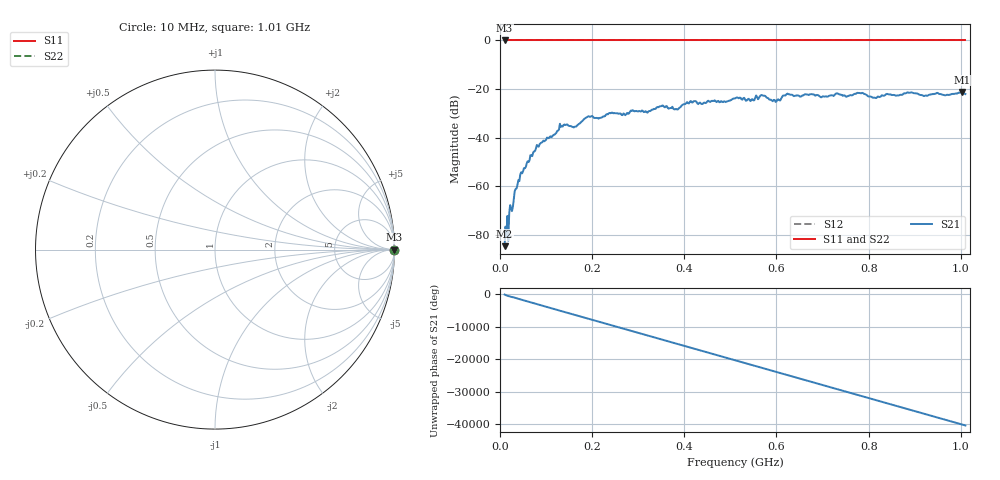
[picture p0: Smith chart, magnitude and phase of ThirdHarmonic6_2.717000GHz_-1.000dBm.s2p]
! 8/17/2025 6:36:12 AM
! C:\ANRITSUVNA\TEMP\TEMP.S2P
! CHANNEL.1
! TR.MEASUREMENT
! RAW.DATA
! RF.CORRECTION.OFF
! AVERAGING.OFF
! IF.BANDWIDTH: 5KHZ
! SWEEPTYPE:  FREQ.SWEEP(Linear)
! Reference Plane Port Info
! PORT:  PORT1  PORT2
! DISTANCE:  0  m  0  m
! TIME:  0  s  0  s
! PHASE.OFFSET:  0  deg.  0  deg.
! LOSS:  0  dB  0  dB
! REF.LOSS:  0  dB  0  dB
! REF.FREQ:  0  Hz  0  Hz
! Power Info
! POWER:  -20  dBm  -20  dBm
! EFF.POWER:  -20  dBm  -20  dBm
! SOURCE.ATTEN:  0  dB  0  dB
! TEST.ATTEN:  0  dB  0  dB
# GHZ S RI R 50.0
! FREQ.GHZ  S11RE  S11IM  S21RE  S21IM  S12RE  S12IM  S22RE  S22IM
!; PortSelection: Port_12
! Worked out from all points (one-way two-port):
!   501 points, 10 MHz to 1.01 GHz, reference 50 ohm
!   highest |S21| = -21.13 dB at 1.002 GHz (marker M1); lowest = -84.5 dB at 10 MHz (marker M2)
!   lowest |S11| = 0.0 dB at 10 MHz (marker M3)
!   |S11| at or under -10 dB: nowhere
!   |S22| runs from 0.0 to 0.0 dB; largest |S21 - S12| = 1.1
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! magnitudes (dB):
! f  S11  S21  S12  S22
! 10 MHz  0.0  -84.5  0.0  0.0
! 42 MHz  0.0  -57.8  0.0  0.0
! 76 MHz  0.0  -45.5  0.0  0.0
! 134 MHz  0.0  -35.3  0.0  0.0
! 162 MHz  0.0  -35.4  0.0  0.0
! 178 MHz  0.0  -33.2  0.0  0.0
! 194 MHz  0.0  -31.2  0.0  0.0
! 322 MHz  0.0  -29.2  0.0  0.0
! 344 MHz  0.0  -27.4  0.0  0.0
! 382 MHz  0.0  -28.1  0.0  0.0
! 416 MHz  0.0  -25.4  0.0  0.0
! 510 MHz  0.0  -23.8  0.0  0.0
! 548 MHz  0.0  -24.1  0.0  0.0
! 570 MHz  0.0  -22.6  0.0  0.0
! 596 MHz  0.0  -24.5  0.0  0.0
! 624 MHz  0.0  -21.8  0.0  0.0
! 678 MHz  0.0  -22.1  0.0  0.0
! 784 MHz  0.0  -21.7  0.0  0.0
! 814 MHz  0.0  -23.6  0.0  0.0
! 844 MHz  0.0  -22.2  0.0  0.0
! 1.002 GHz  0.0  -21.1  0.0  0.0
! 1.01 GHz  0.0  -22.0  0.0  0.0
